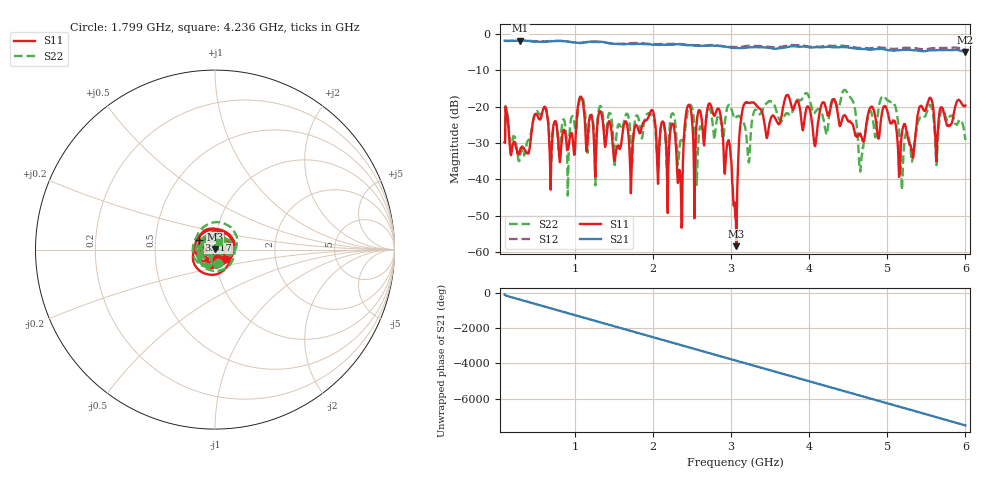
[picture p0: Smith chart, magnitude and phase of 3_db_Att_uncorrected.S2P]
!Created with skrf (http://scikit-rf.org).
# MHz S RI R 50.0
!freq ReS11 ImS11 ReS21 ImS21 ReS12 ImS12 ReS22 ImS22
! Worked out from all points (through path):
!   1001 points, 100 MHz to 6 GHz, reference 50 ohm
!   highest |S21| = -1.78 dB at 300.6 MHz (marker M1); lowest = -4.9 dB at 6 GHz (marker M2)
!   lowest |S11| = -58.4 dB at 3.068 GHz (marker M3), VSWR 1.00, Z = 50 + j0.118 ohm
!   |S11| at or under -10 dB: start of sweep to end of sweep
!   |S22| runs from -44.4 to -15.4 dB; largest |S21 - S12| = 0.74
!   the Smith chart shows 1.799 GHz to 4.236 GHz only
!   S11 on the Smith chart (normalised r, x): 1.799 GHz: 1.02, -0.11; 3.817 GHz: 0.83, +0.09; 4.236 GHz: 1.12, -0.11
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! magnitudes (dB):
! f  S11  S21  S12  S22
! 100 MHz  -29.8  -1.8  -1.8  -28.2
! 300.6 MHz  -31.8  -1.8  -1.8  -33.2
! 1.085 GHz  -17.5  -2.4  -2.5  -17.0
! 1.799 GHz  -25.5  -2.7  -2.4  -22.4
! 2.071 GHz  -36.8  -3.0  -2.7  -34.6
! 2.253 GHz  -24.7  -2.9  -2.7  -21.8
! 2.348 GHz  -38.4  -2.8  -2.7  -29.5
! 2.448 GHz  -19.6  -3.1  -3.0  -20.8
! 2.531 GHz  -50.7  -3.1  -3.0  -25.0
! 2.838 GHz  -20.5  -3.3  -3.2  -22.3
! 3.05 GHz  -48.4  -3.8  -3.5  -23.1
! 3.068 GHz  -58.4  -3.8  -3.5  -22.9
! 3.174 GHz  -19.1  -3.8  -3.3  -25.2
! 3.817 GHz  -19.5  -3.4  -3.0  -19.2
! 4.035 GHz  -24.1  -3.7  -3.5  -20.5
! 4.236 GHz  -22.4  -3.5  -3.2  -26.2
! 4.472 GHz  -22.7  -3.6  -3.3  -15.6
! 4.661 GHz  -27.8  -4.1  -3.8  -35.9
! 5.021 GHz  -23.1  -4.4  -4.0  -18.4
! 5.192 GHz  -26.5  -4.4  -3.8  -41.5
! 5.54 GHz  -17.6  -4.4  -4.0  -19.5
! 6 GHz  -19.6  -4.9  -4.3  -29.1
